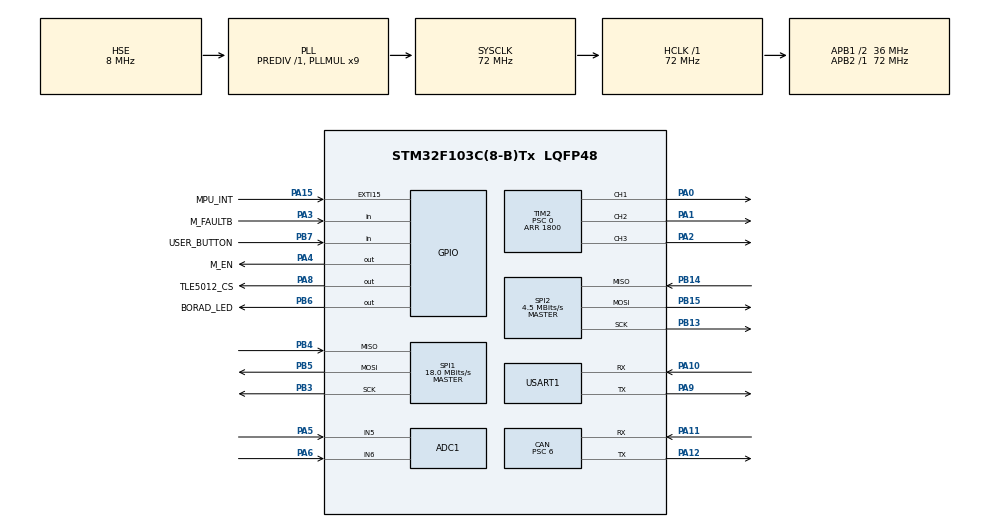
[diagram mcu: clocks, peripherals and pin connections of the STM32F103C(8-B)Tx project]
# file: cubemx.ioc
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ADC1.Channel-1\#ChannelRegularConversion=ADC_CHANNEL_5
ADC1.Channel-2\#ChannelRegularConversion=ADC_CHANNEL_6
ADC1.ContinuousConvMode=DISABLE
ADC1.EnableInjectedConversion=DISABLE
ADC1.ExternalTrigConv=ADC_SOFTWARE_START
ADC1.NbrOfConversion=2
ADC1.NbrOfConversionFlag=1
ADC1.Rank-1\#ChannelRegularConversion=1
ADC1.Rank-2\#ChannelRegularConversion=2
ADC1.SamplingTime-1\#ChannelRegularConversion=ADC_SAMPLETIME_1CYCLE_5
ADC1.SamplingTime-2\#ChannelRegularConversion=ADC_SAMPLETIME_1CYCLE_5
ADC1.master=1
CAN.ABOM=ENABLE
CAN.BS1=CAN_BS1_4TQ
CAN.CalculateBaudRate=999999
CAN.CalculateTimeBit=1000
CAN.CalculateTimeQuantum=166.66666666666669
CAN.Prescaler=6
Dma.ADC1.2.Direction=DMA_PERIPH_TO_MEMORY
Dma.ADC1.2.Instance=DMA1_Channel1
Dma.ADC1.2.MemDataAlignment=DMA_MDATAALIGN_HALFWORD
Dma.ADC1.2.MemInc=DMA_MINC_ENABLE
Dma.ADC1.2.Mode=DMA_CIRCULAR
Dma.ADC1.2.PeriphDataAlignment=DMA_PDATAALIGN_HALFWORD
Dma.ADC1.2.PeriphInc=DMA_PINC_DISABLE
Dma.ADC1.2.Priority=DMA_PRIORITY_HIGH
Dma.Request0=USART1_TX
Dma.Request1=USART1_RX
Dma.Request2=ADC1
Dma.USART1_RX.1.Direction=DMA_PERIPH_TO_MEMORY
Dma.USART1_RX.1.Instance=DMA1_Channel5
Dma.USART1_RX.1.MemDataAlignment=DMA_MDATAALIGN_BYTE
Dma.USART1_RX.1.MemInc=DMA_MINC_ENABLE
Dma.USART1_RX.1.Mode=DMA_CIRCULAR
Dma.USART1_RX.1.PeriphDataAlignment=DMA_PDATAALIGN_BYTE
Dma.USART1_RX.1.PeriphInc=DMA_PINC_DISABLE
Dma.USART1_RX.1.Priority=DMA_PRIORITY_LOW
Dma.USART1_TX.0.Direction=DMA_MEMORY_TO_PERIPH
Dma.USART1_TX.0.Instance=DMA1_Channel4
Dma.USART1_TX.0.MemDataAlignment=DMA_MDATAALIGN_BYTE
Dma.USART1_TX.0.MemInc=DMA_MINC_ENABLE
Dma.USART1_TX.0.Mode=DMA_NORMAL
Dma.USART1_TX.0.PeriphDataAlignment=DMA_PDATAALIGN_BYTE
Dma.USART1_TX.0.PeriphInc=DMA_PINC_DISABLE
Dma.USART1_TX.0.Priority=DMA_PRIORITY_LOW
Mcu.Family=STM32F1
Mcu.Name=STM32F103C(8-B)Tx
Mcu.Package=LQFP48
NVIC.ADC1_2_IRQn=true\:0\:0\:false\:false\:true\:true\:true\:true
NVIC.DMA1_Channel1_IRQn=true\:3\:0\:true\:false\:true\:false\:true\:true
NVIC.DMA1_Channel4_IRQn=true\:10\:0\:true\:false\:true\:false\:true\:true
NVIC.DMA1_Channel5_IRQn=true\:10\:0\:true\:false\:true\:false\:true\:true
NVIC.PriorityGroup=NVIC_PRIORITYGROUP_4
NVIC.TIM1_BRK_IRQn=true\:5\:0\:true\:false\:true\:true\:true\:true
NVIC.TIM1_CC_IRQn=true\:5\:0\:true\:false\:true\:true\:true\:true
NVIC.TIM1_TRG_COM_IRQn=true\:5\:0\:true\:false\:true\:true\:true\:true
NVIC.TIM1_UP_IRQn=true\:5\:0\:true\:false\:true\:true\:true\:true
NVIC.TIM2_IRQn=true\:0\:0\:true\:false\:true\:true\:true\:true
NVIC.USART1_IRQn=true\:10\:0\:true\:false\:true\:true\:true\:true
NVIC.USB_LP_CAN1_RX0_IRQn=true\:3\:0\:true\:false\:true\:true\:true\:true
PA0-WKUP.GPIO_Speed=GPIO_SPEED_FREQ_HIGH
PA0-WKUP.Signal=S_TIM2_CH1_ETR
PA1.GPIO_Speed=GPIO_SPEED_FREQ_HIGH
PA1.Signal=S_TIM2_CH2
PA10.Mode=Asynchronous
PA10.Signal=USART1_RX
PA11.Mode=CAN_Activate
PA11.Signal=CAN_RX
PA12.Mode=CAN_Activate
PA12.Signal=CAN_TX
PA13.Mode=Serial_Wire
PA13.Signal=SYS_JTMS-SWDIO
PA14.Mode=Serial_Wire
PA14.Signal=SYS_JTCK-SWCLK
PA15.GPIO_Label=MPU_INT
PA15.Signal=GPXTI15
PA2.GPIO_Speed=GPIO_SPEED_FREQ_HIGH
PA2.Signal=S_TIM2_CH3
PA3.GPIO_Label=M_FAULTB
PA3.GPIO_PuPd=GPIO_PULLUP
PA3.Signal=GPIO_Input
PA4.GPIO_Label=M_EN
PA4.GPIO_PuPd=GPIO_NOPULL
PA4.Signal=GPIO_Output
PA5.Signal=ADCx_IN5
PA6.Signal=ADCx_IN6
PA8.GPIO_Label=TLE5012_CS
PA8.Signal=GPIO_Output
PA9.Mode=Asynchronous
PA9.Signal=USART1_TX
PB13.Mode=Full_Duplex_Master
PB13.Signal=SPI2_SCK
PB14.Mode=Full_Duplex_Master
PB14.Signal=SPI2_MISO
PB15.Mode=Full_Duplex_Master
PB15.Signal=SPI2_MOSI
PB3.Mode=Full_Duplex_Master
PB3.Signal=SPI1_SCK
PB4.Mode=Full_Duplex_Master
PB4.Signal=SPI1_MISO
PB5.Mode=Full_Duplex_Master
PB5.Signal=SPI1_MOSI
PB6.GPIO_Label=BORAD_LED
PB6.GPIO_PuPd=GPIO_NOPULL
PB6.Signal=GPIO_Output
PB7.GPIO_Label=USER_BUTTON
PB7.GPIO_PuPd=GPIO_PULLUP
PB7.Signal=GPIO_Input
PD0-OSC_IN.Mode=HSE-External-Oscillator
PD0-OSC_IN.Signal=RCC_OSC_IN
PD1-OSC_OUT.Mode=HSE-External-Oscillator
PD1-OSC_OUT.Signal=RCC_OSC_OUT
ProjectManager.HeapSize=0x200
ProjectManager.StackSize=0x400
ProjectManager.TargetToolchain=Makefile
RCC.ADCPresc=RCC_ADCPCLK2_DIV6
RCC.AHBFreq_Value=72000000
RCC.APB1CLKDivider=RCC_HCLK_DIV2
RCC.APB1Freq_Value=36000000
RCC.APB1TimFreq_Value=72000000
RCC.APB2Freq_Value=72000000
RCC.APB2TimFreq_Value=72000000
RCC.HCLKFreq_Value=72000000
RCC.PLLMUL=RCC_PLL_MUL9
RCC.PLLSourceVirtual=RCC_PLLSOURCE_HSE
RCC.SYSCLKFreq_VALUE=72000000
RCC.SYSCLKSource=RCC_SYSCLKSOURCE_PLLCLK
RCC.USBFreq_Value=72000000
SH.ADCx_IN5.0=ADC1_IN5,IN5
SH.ADCx_IN6.0=ADC1_IN6,IN6
SH.S_TIM2_CH1_ETR.0=TIM2_CH1,PWM Generation1 CH1
SH.S_TIM2_CH2.0=TIM2_CH2,PWM Generation2 CH2
SH.S_TIM2_CH3.0=TIM2_CH3,PWM Generation3 CH3
SPI1.BaudRatePrescaler=SPI_BAUDRATEPRESCALER_4
SPI1.CLKPhase=SPI_PHASE_2EDGE
SPI1.CLKPolarity=SPI_POLARITY_HIGH
SPI1.CalculateBaudRate=18.0 MBits/s
SPI1.Direction=SPI_DIRECTION_2LINES
SPI1.Mode=SPI_MODE_MASTER
SPI1.VirtualType=VM_MASTER
SPI2.BaudRatePrescaler=SPI_BAUDRATEPRESCALER_8
SPI2.CLKPhase=SPI_PHASE_2EDGE
SPI2.CLKPolarity=SPI_POLARITY_LOW
SPI2.CalculateBaudRate=4.5 MBits/s
SPI2.DataSize=SPI_DATASIZE_16BIT
SPI2.Direction=SPI_DIRECTION_2LINES
SPI2.Mode=SPI_MODE_MASTER
SPI2.VirtualType=VM_MASTER
TIM1.Period=100-1
TIM1.Prescaler=72-1
TIM2.AutoReloadPreload=TIM_AUTORELOAD_PRELOAD_ENABLE
TIM2.Channel-PWM\ Generation1\ CH1=TIM_CHANNEL_1
TIM2.Channel-PWM\ Generation2\ CH2=TIM_CHANNEL_2
TIM2.Channel-PWM\ Generation3\ CH3=TIM_CHANNEL_3
TIM2.CounterMode=TIM_COUNTERMODE_CENTERALIGNED1
TIM2.OCFastMode_PWM-PWM\ Generation1\ CH1=TIM_OCFAST_DISABLE
TIM2.OCFastMode_PWM-PWM\ Generation2\ CH2=TIM_OCFAST_DISABLE
TIM2.OCFastMode_PWM-PWM\ Generation3\ CH3=TIM_OCFAST_DISABLE
TIM2.Period=1800
TIM2.Prescaler=0
USART1.VirtualMode=VM_ASYNC
VP_TIM1_VS_ClockSourceINT.Mode=Internal
VP_TIM2_VS_ClockSourceINT.Mode=Internal
board=custom

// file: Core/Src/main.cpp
/* USER CODE BEGIN Header */
/**
 ******************************************************************************
 * @file           : main.c
 * @brief          : Main program body
 ******************************************************************************
 * @attention
 *
 * Copyright (c) 2023 STMicroelectronics.
 * All rights reserved.
 *
 * This software is licensed under terms that can be found in the LICENSE file
 * in the root directory of this software component.
 * If no LICENSE file comes with this software, it is provided AS-IS.
 *
 ******************************************************************************
 */
/* USER CODE END Header */
#include "main.h"
#include "adc.h"
#include "can.h"
#include "dma.h"
#include "spi.h"
#include "tim.h"
#include "usart.h"
#include "gpio.h"

/* USER CODE BEGIN Includes */
#include "Key_cpp/bsp_key.hpp"
#include "led_cpp/bsp_led.hpp"
#include "tle5012/bsp_tle5012b.h"
#include "adc_cpp/bsp_adc.hpp"
#include "foc/bsp_foc.hpp"
#include "app_encoder/app_encoder.hpp"
#include "timer/timer.hpp"
#include "Can/bsp_can.h"

#include <math.h>

/* apps */
#include "motor/app_motor.hpp"
/* USER CODE END Includes */

void SystemClock_Config(void);

/* USER CODE BEGIN 0 */
extern uint8_t can_CAL_ZeroElectricalAngle_flag;
/* USER CODE END 0 */

int main(void)
{

  /* MCU Configuration--------------------------------------------------------*/

  /* Reset of all peripherals, Initializes the Flash interface and the Systick. */
  HAL_Init();

  /* Configure the system clock */
  SystemClock_Config();

  /* Initialize all configured peripherals */
  MX_GPIO_Init();
  MX_DMA_Init();
  MX_SPI1_Init();
  MX_SPI2_Init();
  MX_TIM2_Init();
  MX_USART1_UART_Init();
  MX_ADC1_Init();
  MX_TIM1_Init();
  MX_CAN_Init();

  /* USER CODE BEGIN 2 */

  BORAD_LED.ctrl(LED_OFF);
  HAL_Delay(1000);
  BORAD_LED.ctrl(LED_ON);

  // TLE5012初始化

  // /* led初始化 */
  // BORAD_LED.twinkle_Config(200, 2);

  /* 按键初始化 */
  USER_Button.clean();

  /* 电流采样 ADC_DMA 初始化 */
  HAL_Delay(1000);
  bsp_adc_dma1.init();

  /* foc 初始化 */
  motor_1612.set_voltage_limit(8, 8.4);
  motor_1612.init();
  motor_1612.set_encoder(&HallEncoder);
  motor_1612.set_PID_OUT(&pid_out_1612);
  motor_1612.set_PID_IN(&pid_in_1612);
  // /* 初始化得到原始电角度 */
  // HAL_GPIO_WritePin(M_EN_GPIO_Port, M_EN_Pin, GPIO_PIN_SET);
  // motor_1612.init_ZeroElectricalAngle(3000);
  // HAL_GPIO_WritePin(M_EN_GPIO_Port, M_EN_Pin, GPIO_PIN_RESET);
  // printf("zer_electrical_angle = %5.8f\r\n", motor_1612.zero_electrical_angle);
  /* 已经采样得到了  直接赋值的原始电角度 */
  // motor_1612.set_ZeroElectricalAngle(5.85807991f);
  motor_1612.set_ZeroElectricalAngle(2.165592f);

  /* foc 电流采样初始化 */
  motor_1612.set_current_sensor(&foc_current_sensor);
  motor_1612._current_sensor->init(0, 1, -1, 20);
  motor_1612.set_PID_IQ(&pid_IQ);
  motor_1612.set_PID_ID(&pid_ID);

  motor_1612._current_sensor->calibration(100);
  // printf("u_offset = %5f, v_offset = %5f, w_offset = %5f\r\n",
  //        motor_1612._current_sensor->phase_u.offset,
  //        motor_1612._current_sensor->phase_v.offset,
  //        motor_1612._current_sensor->phase_w.offset);

  /* 设置了一下霍尔传感器方向 使速度位置pid 为正 */
  motor_1612.encoder_dir = FORWARD;

  /* 功能运行定时器初始化 */
  timer_init();

  /* CAN 初始化 */
  bsp_can_Init();

  /* 电机校准测试 */
  // app_motor_can_CAL(&motor_1612);

  /* flash 中获取 pid 参数 */
  // app_motor_flash_pidsave(&motor_1612);
  app_motor_flash_pidget(&motor_1612);

  /* 默认电机上电 */
  motor_1612.enable();
  // motor_1612.disable();

  // app_motor_can_CAL(&motor_1612);

  /* 设置初始为 0 角度位置闭环 */
  // motor_1612.set_angle(0);
  // motor_1612.set_speed(120);
  motor_1612.set_current(0);
  // motor_1612.set_speed(60,openloop);

  /* USER CODE END 2 */

  /* Infinite loop */
  while (1)
  {

    /* USER CODE BEGIN 3 */
    // motor_1612.set_speed(60);
    // motor_1612.set_speed(60,openloop);
    // motor_1612.set_current(0.4);

    /* foc 测试代码 */
    // 已放在了 timer 中断中处理

    /* 霍尔测试代码 */
    // float tle5012_angle = ReadAngle();
    // printf("angle = %5.5f\r\n", tle5012_angle);
    /* 霍尔整合为编码器测试 */
    // HallEncoder.get_date();
    // HallEncoder.get_speed();
    /* end */

    /* can 发送测试 */
    // bsp_can_Sendmessage(&hcan, CAN_ID, CAN_date);
    // app_motor_can_Basic_postback(&motor_1612);

    if (can_CAL_ZeroElectricalAngle_flag == 1)
    {
      can_CAL_ZeroElectricalAngle_flag = 0;
      app_motor_can_CAL_ZeroElectricalAngle(&motor_1612);
    }

    /* 运行杂项 */
    HAL_Delay(1);
  }
  /* USER CODE END 3 */
}

void SystemClock_Config(void)
{
  RCC_OscInitTypeDef RCC_OscInitStruct = {0};
  RCC_ClkInitTypeDef RCC_ClkInitStruct = {0};
  RCC_PeriphCLKInitTypeDef PeriphClkInit = {0};

  /** Initializes the RCC Oscillators according to the specified parameters
   * in the RCC_OscInitTypeDef structure.
   */
  RCC_OscInitStruct.OscillatorType = RCC_OSCILLATORTYPE_HSE;
  RCC_OscInitStruct.HSEState = RCC_HSE_ON;
  RCC_OscInitStruct.HSEPredivValue = RCC_HSE_PREDIV_DIV1;
  RCC_OscInitStruct.HSIState = RCC_HSI_ON;
  RCC_OscInitStruct.PLL.PLLState = RCC_PLL_ON;
  RCC_OscInitStruct.PLL.PLLSource = RCC_PLLSOURCE_HSE;
  RCC_OscInitStruct.PLL.PLLMUL = RCC_PLL_MUL9;
  if (HAL_RCC_OscConfig(&RCC_OscInitStruct) != HAL_OK)
  {
    Error_Handler();
  }

  /** Initializes the CPU, AHB and APB buses clocks
   */
  RCC_ClkInitStruct.ClockType = RCC_CLOCKTYPE_HCLK | RCC_CLOCKTYPE_SYSCLK | RCC_CLOCKTYPE_PCLK1 | RCC_CLOCKTYPE_PCLK2;
  RCC_ClkInitStruct.SYSCLKSource = RCC_SYSCLKSOURCE_PLLCLK;
  RCC_ClkInitStruct.AHBCLKDivider = RCC_SYSCLK_DIV1;
  RCC_ClkInitStruct.APB1CLKDivider = RCC_HCLK_DIV2;
  RCC_ClkInitStruct.APB2CLKDivider = RCC_HCLK_DIV1;

  if (HAL_RCC_ClockConfig(&RCC_ClkInitStruct, FLASH_LATENCY_2) != HAL_OK)
  {
    Error_Handler();
  }
  PeriphClkInit.PeriphClockSelection = RCC_PERIPHCLK_ADC;
  PeriphClkInit.AdcClockSelection = RCC_ADCPCLK2_DIV6;
  if (HAL_RCCEx_PeriphCLKConfig(&PeriphClkInit) != HAL_OK)
  {
    Error_Handler();
  }
}

void Error_Handler(void)
{
  __disable_irq();
  while (1)
  {
  }
}
